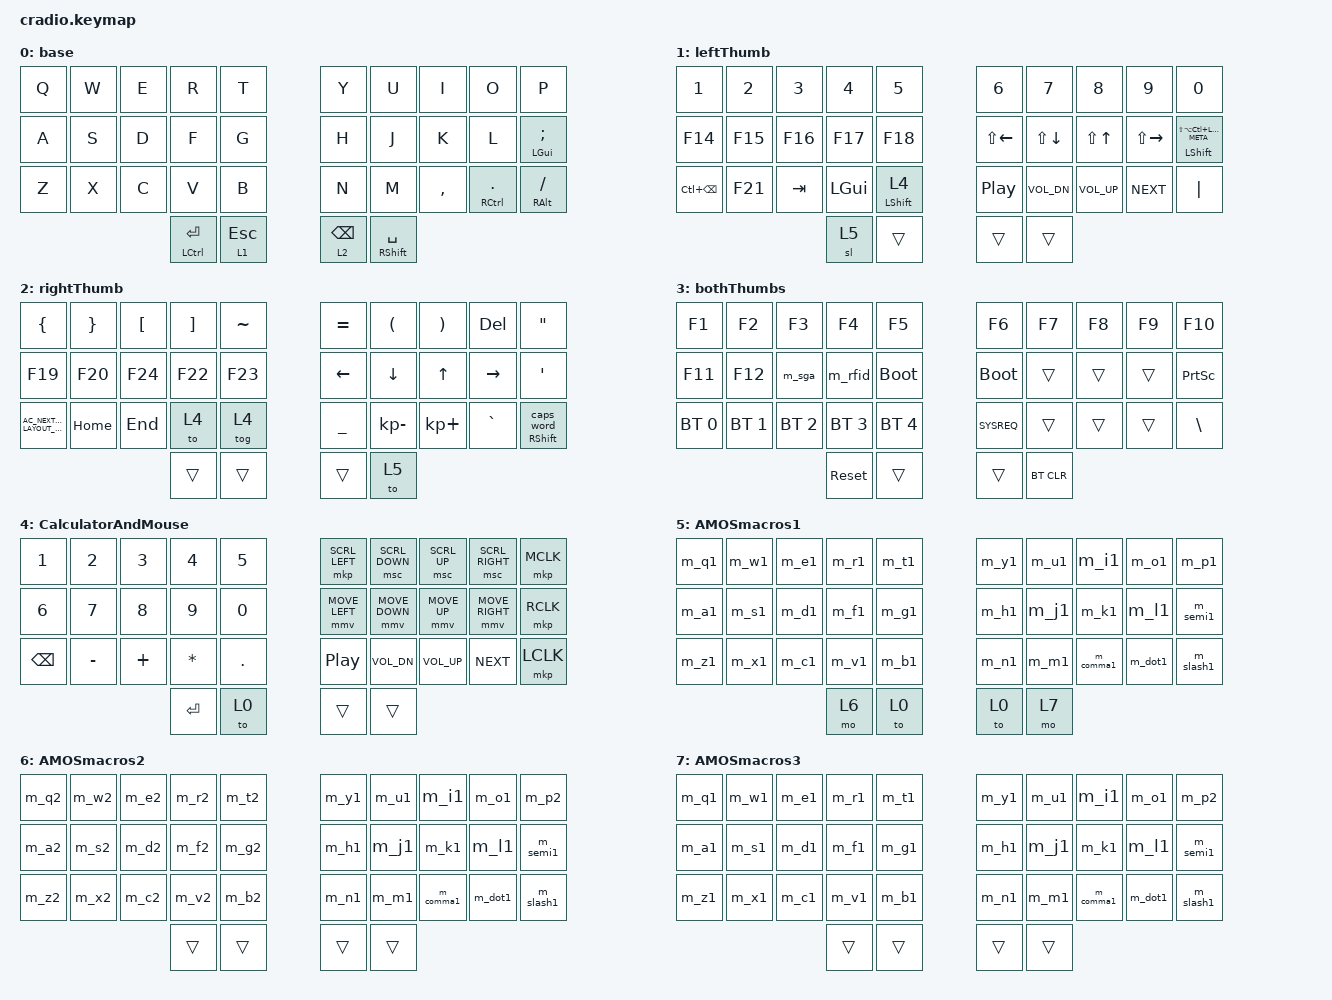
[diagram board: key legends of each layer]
#include <behaviors.dtsi>
#include <dt-bindings/zmk/bt.h>
#include <dt-bindings/zmk/keys.h>
#include <dt-bindings/zmk/pointing.h>

/ {
    behaviors {
        mt_sk: mod_tap_sticky_key {
            compatible = "zmk,behavior-hold-tap";
            #binding-cells = <2>;
            flavor = "tap-preferred";      // or "balanced" / "hold-preferred"
            tapping-term-ms = <200>;
            quick-tap-ms = <150>;
            bindings = <&kp>, <&sk>;
        };
    mt_cw: mod_tap_caps_word {
        compatible = "zmk,behavior-hold-tap";
        #binding-cells = <2>;
        flavor = "tap-preferred";
        tapping-term-ms = <200>;
        quick-tap-ms = <150>;
        bindings = <&kp>, <&caps_word>;
        };
mt_to: mod_tap_switch_layer {
    compatible = "zmk,behavior-hold-tap";
    #binding-cells = <2>;
    flavor = "tap-preferred";
    tapping-term-ms = <200>;
    quick-tap-ms = <150>;
    bindings = <&kp>, <&to>;
};

    };


    macros {
        m_sga: m_sga {
            compatible = "zmk,behavior-macro";
            #binding-cells = <0>;
            wait-ms = <30>;
            tap-ms = <30>;
            bindings = <&macro_tap
                &kp TILDE &kp LS(S) &kp LS(G) &kp DOT &kp LS(A) &kp RET>;
        };

        m_rfid: m_rfid {
            compatible = "zmk,behavior-macro";
            #binding-cells = <0>;
            wait-ms = <30>;
            tap-ms = <30>;
            bindings = <&macro_tap
                &kp TILDE
                &kp LS(R) &kp LS(F) &kp LS(I) &kp LS(D)
                &kp DOT
                &kp LS(A) &kp LS(B) &kp LS(C)
                &kp N1 &kp N2 &kp N3
                &kp LS(A) &kp LS(B) &kp LS(C)
                &kp RET>;
        };

        m_q1: m_q1 {
            compatible = "zmk,behavior-macro";
            display-name = "User Menu";
            #binding-cells = <0>;
            wait-ms = <5>;
            tap-ms = <5>;
            bindings = <&macro_tap
                &kp TILDE &kp LS(A) &kp LS(P) &kp LS(N) &kp DOT 
                &kp N0 &kp RET>;
        };

        m_q2: m_q2 {
            compatible = "zmk,behavior-macro";
            display-name = "PQS";
            #binding-cells = <0>;
            wait-ms = <5>;
            tap-ms = <5>;
            bindings = <&macro_tap
                &kp TILDE &kp LS(A) &kp LS(P) &kp LS(N) &kp DOT 
                &kp N1 &kp N4 &kp N8 &kp RET>;
        };

        m_w1: m_w1 {
            compatible = "zmk,behavior-macro";
            #binding-cells = <0>;
            wait-ms = <5>;
            tap-ms = <5>;
            bindings = <&macro_tap
                &kp TILDE &kp LS(A) &kp LS(P) &kp LS(N) &kp DOT 
                &kp N1 &kp N4 &kp N1 &kp N8 &kp RET>;
        };

        m_w2: m_w2 {
            compatible = "zmk,behavior-macro";
            display-name = "PQS";
            #binding-cells = <0>;
            wait-ms = <5>;
            tap-ms = <5>;
            bindings = <&macro_tap
                &kp TILDE &kp LS(A) &kp LS(P) &kp LS(N) &kp DOT 
                &kp N3 &kp N0 &kp RET>;
        };

        m_e1: m_e1 {
            compatible = "zmk,behavior-macro";
            #binding-cells = <0>;
            wait-ms = <5>;
            tap-ms = <5>;
            bindings = <&macro_tap
                &kp TILDE &kp LS(A) &kp LS(P) &kp LS(N) &kp DOT 
                &kp N5 &kp N8 &kp RET>;
        };

        m_e2: m_e2 {
            compatible = "zmk,behavior-macro";
            #binding-cells = <0>;
            wait-ms = <5>;
            tap-ms = <5>;
            bindings = <&macro_tap
                &kp TILDE &kp LS(A) &kp LS(P) &kp LS(N) &kp DOT 
                &kp N4 &kp N3 &kp N2 &kp RET>;
        };

        m_r1: m_r1 {
            compatible = "zmk,behavior-macro";
            #binding-cells = <0>;
            wait-ms = <5>;
            tap-ms = <5>;
            bindings = <&macro_tap
                &kp TILDE &kp LS(A) &kp LS(P) &kp LS(N) &kp DOT 
                &kp N1 &kp N4 &kp N7 &kp RET>;
        };

        m_r2: m_r2 {
            compatible = "zmk,behavior-macro";
            #binding-cells = <0>;
            wait-ms = <5>;
            tap-ms = <5>;
            bindings = <&macro_tap
                &kp TILDE &kp LS(A) &kp LS(P) &kp LS(N) &kp DOT 
                &kp N2 &kp N7 &kp N7 &kp N3 &kp RET>;
        };

        m_t1: m_t1 {
            compatible = "zmk,behavior-macro";
            #binding-cells = <0>;
            wait-ms = <5>;
            tap-ms = <5>;
            bindings = <&macro_tap
                &kp TILDE &kp LS(A) &kp LS(P) &kp LS(N) &kp DOT 
                &kp N1 &kp N2 &kp N2 &kp N5 &kp RET>;
        };

        m_t2: m_t2 {
            compatible = "zmk,behavior-macro";
            #binding-cells = <0>;
            wait-ms = <5>;
            tap-ms = <5>;
            bindings = <&macro_tap
                &kp TILDE &kp LS(A) &kp LS(P) &kp LS(N) &kp DOT 
                &kp N2 &kp N1 &kp N1 &kp N0 &kp RET>;
        };

        m_a1: m_a1 {
            compatible = "zmk,behavior-macro";
            #binding-cells = <0>;
            wait-ms = <5>;
            tap-ms = <5>;
            bindings = <&macro_tap
                &kp TILDE &kp LS(A) &kp LS(P) &kp LS(N) &kp DOT 
                &kp N3 &kp N0 &kp N8 &kp RET>;
        };

        m_a2: m_a2 {
            compatible = "zmk,behavior-macro";
            #binding-cells = <0>;
            wait-ms = <5>;
            tap-ms = <5>;
            bindings = <&macro_tap
                &kp TILDE &kp LS(A) &kp LS(P) &kp LS(N) &kp DOT 
                &kp N2 &kp N2 &kp N0 &kp N7 &kp RET>;
        };


        m_s1: m_s1 {
            compatible = "zmk,behavior-macro";
            #binding-cells = <0>;
            wait-ms = <5>;
            tap-ms = <5>;
            bindings = <&macro_tap
                &kp TILDE &kp LS(A) &kp LS(P) &kp LS(N) &kp DOT 
                 &kp N5 &kp N9 &kp RET>;
        };

        m_s2: m_s2 {
            compatible = "zmk,behavior-macro";
            #binding-cells = <0>;
            wait-ms = <5>;
            tap-ms = <5>;
            bindings = <&macro_tap
                &kp TILDE &kp LS(A) &kp LS(P) &kp LS(N) &kp DOT 
                 &kp N2 &kp N2 &kp N1 &kp RET>;
        };

        m_d1: m_d1 {
            compatible = "zmk,behavior-macro";
            #binding-cells = <0>;
            wait-ms = <5>;
            tap-ms = <5>;
            bindings = <&macro_tap
                &kp TILDE &kp LS(A) &kp LS(P) &kp LS(N) &kp DOT 
                &kp N2 &kp N6 &kp N1 &kp RET>;
        };

        m_d2: m_d2 {
            compatible = "zmk,behavior-macro";
            #binding-cells = <0>;
            wait-ms = <5>;
            tap-ms = <5>;
            bindings = <&macro_tap
                &kp TILDE &kp LS(A) &kp LS(P) &kp LS(N) &kp DOT 
                &kp N6 &kp N3 &kp RET>;
        };

        m_f1: m_f1 {
            compatible = "zmk,behavior-macro";
            #binding-cells = <0>;
            wait-ms = <5>;
            tap-ms = <5>;
            bindings = <&macro_tap
                &kp TILDE &kp LS(A) &kp LS(P) &kp LS(N) &kp DOT 
                &kp N1 &kp N8 &kp N4 &kp N4  &kp RET>;
        };

        m_f2: m_f2 {
            compatible = "zmk,behavior-macro";
            #binding-cells = <0>;
            wait-ms = <5>;
            tap-ms = <5>;
            bindings = <&macro_tap
                &kp TILDE &kp LS(A) &kp LS(P) &kp LS(N) &kp DOT 
                &kp N1 &kp N4 &kp N4 &kp N4  &kp RET>;
        };

       m_g1: m_g1 {
            compatible = "zmk,behavior-macro";
            #binding-cells = <0>;
            wait-ms = <5>;
            tap-ms = <5>;
            bindings = <&macro_tap
                &kp TILDE &kp LS(A) &kp LS(P) &kp LS(N) &kp DOT 
                &kp N2 &kp N6 &kp N2 &kp N9  &kp RET>;
        };

       m_g2: m_g2 {
            compatible = "zmk,behavior-macro";
            #binding-cells = <0>;
            wait-ms = <5>;
            tap-ms = <5>;
            bindings = <&macro_tap
                &kp TILDE &kp LS(A) &kp LS(P) &kp LS(N) &kp DOT 
                &kp N9 &kp N0 &kp N2  &kp RET>;
        };

        m_z1: m_z1 {
            compatible = "zmk,behavior-macro";
            #binding-cells = <0>;
            wait-ms = <5>;
            tap-ms = <5>;
            bindings = <&macro_tap
                &kp TILDE &kp LS(A) &kp LS(P) &kp LS(N) &kp DOT 
                &kp N2 &kp N4 &kp N9 &kp RET>;
        };

        m_z2: m_z2 {
            compatible = "zmk,behavior-macro";
            #binding-cells = <0>;
            wait-ms = <5>;
            tap-ms = <5>;
            bindings = <&macro_tap
                &kp TILDE &kp LS(A) &kp LS(P) &kp LS(N) &kp DOT 
                &kp N1 &kp N9 &kp N3 &kp N4 &kp RET>;
        };

        m_x1: m_x1 {
            compatible = "zmk,behavior-macro";
            #binding-cells = <0>;
            wait-ms = <5>;
            tap-ms = <5>;
            bindings = <&macro_tap
                &kp TILDE &kp LS(A) &kp LS(P) &kp LS(N) &kp DOT 
                &kp N3 &kp N6 &kp N5 &kp N8 &kp RET>;
        };

        m_x2: m_x2 {
            compatible = "zmk,behavior-macro";
            #binding-cells = <0>;
            wait-ms = <5>;
            tap-ms = <5>;
            bindings = <&macro_tap
                &kp TILDE &kp LS(A) &kp LS(P) &kp LS(N) &kp DOT 
                &kp N1 &kp N4 &kp N4 &kp N2 &kp RET>;
        };

        m_c1: m_c1 {
            compatible = "zmk,behavior-macro";
            #binding-cells = <0>;
            wait-ms = <5>;
            tap-ms = <5>;
            bindings = <&macro_tap
                &kp TILDE &kp LS(A) &kp LS(P) &kp LS(N) &kp DOT 
                &kp N2 &kp N8 &kp N1 &kp N8 &kp RET>;
        };

        m_c2: m_c2 {
            compatible = "zmk,behavior-macro";
            #binding-cells = <0>;
            wait-ms = <5>;
            tap-ms = <5>;
            bindings = <&macro_tap
                &kp TILDE &kp LS(A) &kp LS(P) &kp LS(N) &kp DOT 
                &kp N1 &kp N0 &kp RET>;
        };

        m_v1: m_v1 {
            compatible = "zmk,behavior-macro";
            #binding-cells = <0>;
            wait-ms = <5>;
            tap-ms = <5>;
            bindings = <&macro_tap
                &kp TILDE &kp LS(A) &kp LS(P) &kp LS(N) &kp DOT 
                &kp N1 &kp N3 &kp N5 &kp N4 &kp RET>;
        };

       m_v2: m_v2 {
            compatible = "zmk,behavior-macro";
            #binding-cells = <0>;
            wait-ms = <5>;
            tap-ms = <5>;
            bindings = <&macro_tap
                &kp TILDE &kp LS(A) &kp LS(P) &kp LS(N) &kp DOT 
                &kp N1 &kp N4 &kp N0 &kp N4 &kp RET>;
        };

        m_b1: m_b1 {
            compatible = "zmk,behavior-macro";
            #binding-cells = <0>;
            wait-ms = <5>;
            tap-ms = <5>;
            bindings = <&macro_tap
                &kp TILDE &kp LS(A) &kp LS(P) &kp LS(N) &kp DOT 
                &kp N3 &kp N2 &kp N9 &kp N6 &kp RET>;
        };

        m_b2: m_b2 {
            compatible = "zmk,behavior-macro";
            #binding-cells = <0>;
            wait-ms = <5>;
            tap-ms = <5>;
            bindings = <&macro_tap
                &kp TILDE &kp LS(A) &kp LS(P) &kp LS(N) &kp DOT 
                &kp N1 &kp N8 &kp RET>;
        };


        m_y1: m_y1 {
            compatible = "zmk,behavior-macro";
            #binding-cells = <0>;
            wait-ms = <5>;
            tap-ms = <5>;
            bindings = <&macro_tap
                &kp TILDE &kp LS(R) &kp LS(F) &kp LS(I) &kp LS(D) &kp DOT
                &kp N1 &kp LS(Y) &kp RET>;
        };

        m_u1: m_u1  {
            compatible = "zmk,behavior-macro";
            #binding-cells = <0>;
            wait-ms = <5>;
            tap-ms = <5>;
            bindings = <&macro_tap
                &kp TILDE &kp LS(R) &kp LS(F) &kp LS(I) &kp LS(D) &kp DOT
                &kp N1 &kp LS(U) &kp RET>;
        };
        m_i1: m_i1 {
            compatible = "zmk,behavior-macro";
            #binding-cells = <0>;
            wait-ms = <5>;
            tap-ms = <5>;
            bindings = <&macro_tap
                &kp TILDE &kp LS(R) &kp LS(F) &kp LS(I) &kp LS(D) &kp DOT
                &kp N1 &kp LS(I) &kp RET>;
        };

        m_o1: m_o1 {
            compatible = "zmk,behavior-macro";
            #binding-cells = <0>;
            wait-ms = <5>;
            tap-ms = <5>;
            bindings = <&macro_tap
                &kp TILDE &kp LS(R) &kp LS(F) &kp LS(I) &kp LS(D) &kp DOT
                &kp N1 &kp LS(O) &kp RET>;
        };
        m_p1: m_p1 {
            compatible = "zmk,behavior-macro";
            #binding-cells = <0>;
            wait-ms = <5>;
            tap-ms = <5>;
            bindings = <&macro_tap
                &kp TILDE &kp LS(R) &kp LS(F) &kp LS(I) &kp LS(D) &kp DOT
                &kp N1 &kp LS(P) &kp RET>;
        };

        m_p2: m_p2 {
            compatible = "zmk,behavior-macro";
            #binding-cells = <0>;
            wait-ms = <5>;
            tap-ms = <5>;
            bindings = <&macro_tap
                &kp TILDE &kp LS(R) &kp LS(F) &kp LS(I) &kp LS(D) &kp DOT
                &kp N2 &kp LS(P) &kp RET>;
        };

        m_h1: m_h1 {
            compatible = "zmk,behavior-macro";
            #binding-cells = <0>;
            wait-ms = <5>;
            tap-ms = <5>;
            bindings = <&macro_tap
                &kp TILDE &kp LS(R) &kp LS(F) &kp LS(I) &kp LS(D) &kp DOT
                &kp N1 &kp LS(H) &kp RET>;
        };

        m_j1: m_j1 {
            compatible = "zmk,behavior-macro";
            #binding-cells = <0>;
            wait-ms = <5>;
            tap-ms = <5>;
            bindings = <&macro_tap
                &kp TILDE &kp LS(R) &kp LS(F) &kp LS(I) &kp LS(D) &kp DOT
                &kp N1 &kp LS(J) &kp RET>;
        };
        m_k1: m_k1 {
            compatible = "zmk,behavior-macro";
            #binding-cells = <0>;
            wait-ms = <5>;
            tap-ms = <5>;
            bindings = <&macro_tap
                &kp TILDE &kp LS(R) &kp LS(F) &kp LS(I) &kp LS(D) &kp DOT
                &kp N1 &kp LS(K) &kp RET>;
        };

        m_l1: m_l1 {
            compatible = "zmk,behavior-macro";
            #binding-cells = <0>;
            wait-ms = <5>;
            tap-ms = <5>;
            bindings = <&macro_tap
                &kp TILDE &kp LS(R) &kp LS(F) &kp LS(I) &kp LS(D) &kp DOT
                &kp N1 &kp LS(L) &kp RET>;
        };
        m_semi1: m_semi1 {
            compatible = "zmk,behavior-macro";
            #binding-cells = <0>;
            wait-ms = <5>;
            tap-ms = <5>;
            bindings = <&macro_tap
                &kp TILDE &kp LS(R) &kp LS(F) &kp LS(I) &kp LS(D) &kp DOT
                &kp N1 &kp LS(L) &kp LS(L) &kp RET>;
        };
        m_n1: m_n1 {
            compatible = "zmk,behavior-macro";
            #binding-cells = <0>;
            wait-ms = <5>;
            tap-ms = <5>;
            bindings = <&macro_tap
                &kp TILDE &kp LS(R) &kp LS(F) &kp LS(I) &kp LS(D) &kp DOT
                &kp N1 &kp LS(N) &kp RET>;
        };

        m_m1: m_m1 {
            compatible = "zmk,behavior-macro";
            #binding-cells = <0>;
            wait-ms = <5>;
            tap-ms = <5>;
            bindings = <&macro_tap
                &kp TILDE &kp LS(R) &kp LS(F) &kp LS(I) &kp LS(D) &kp DOT
                &kp N1 &kp LS(M) &kp RET>;
        };
        m_comma1: m_comma1 {
            compatible = "zmk,behavior-macro";
            #binding-cells = <0>;
            wait-ms = <5>;
            tap-ms = <5>;
            bindings = <&macro_tap
                &kp TILDE &kp LS(R) &kp LS(F) &kp LS(I) &kp LS(D) &kp DOT
                &kp N1 &kp LS(M) &kp LS(M) &kp RET>;
        };

        m_dot1: m_dot1 {
            compatible = "zmk,behavior-macro";
            #binding-cells = <0>;
            wait-ms = <5>;
            tap-ms = <5>;
            bindings = <&macro_tap
                &kp TILDE &kp LS(R) &kp LS(F) &kp LS(I) &kp LS(D) &kp DOT
                &kp N1 &kp LS(M) &kp LS(M) &kp LS(M) &kp RET>;
        };
        m_slash1: m_slash1 {
            compatible = "zmk,behavior-macro";
            #binding-cells = <0>;
            wait-ms = <5>;
            tap-ms = <5>;
            bindings = <&macro_tap
                &kp TILDE &kp LS(R) &kp LS(F) &kp LS(I) &kp LS(D) &kp DOT
                &kp N1 &kp LS(M) &kp LS(M) &kp LS(M) &kp LS(M) &kp RET>;
        };
    };


    keymap {
        compatible = "zmk,keymap";

        base {
            bindings = <
&kp Q  &kp W  &kp E  &kp R                   &kp T           &kp Y            &kp U                  &kp I      &kp O                  &kp P
&kp A  &kp S  &kp D  &kp F                   &kp G           &kp H            &kp J                  &kp K      &kp L                  &mt LEFT_GUI SEMI
&kp Z  &kp X  &kp C  &kp V                   &kp B           &kp N            &kp M                  &kp COMMA  &mt RIGHT_CONTROL DOT  &mt RIGHT_ALT SLASH
                     &mt LEFT_CONTROL ENTER  &lt 1 ESCAPE    &lt 2 BACKSPACE  &mt RIGHT_SHIFT SPACE
            >;
        };

        leftThumb {
            bindings = <
&kp N1         &kp N2   &kp N3   &kp N4            &kp N5                       &kp N6        &kp N7           &kp N8      &kp N9         &kp N0
&kp F14        &kp F15  &kp F16  &kp F17           &kp F18                      &kp LS(LEFT)  &kp LS(DOWN)     &kp LS(UP)  &kp LS(RIGHT)  &mt_sk LEFT_SHIFT LS(LA(LC(LEFT_META)))
&kp LC(BACKSPACE)  &kp F21  &kp TAB  &kp LEFT_GUI  &mt_to LSHFT 4                        &kp C_PLAY_PAUSE  &kp C_VOL_DN  &kp C_VOL_UP     &kp C_NEXT         &kp PIPE
                                                 &sl 5   &trans                 &trans      &trans
            >;
        };

        rightThumb {
            bindings = <
&kp LBRC                              &kp RBRC  &kp LBKT  &kp RBKT       &kp TILDE    &kp EQUAL       &kp LEFT_PARENTHESIS  &kp RIGHT_PARENTHESIS  &kp DEL    &kp DOUBLE_QUOTES
&kp F19                               &kp F20   &kp F24   &kp F22        &kp F23      &kp LEFT        &kp DOWN              &kp UP                 &kp RIGHT  &kp SQT
&kp C_AC_NEXT_KEYBOARD_LAYOUT_SELECT  &kp HOME  &kp END   &to 4          &tog 4       &kp UNDERSCORE    &kp KP_MINUS           &kp KP_PLUS         &kp GRAVE  &mt_cw RIGHT_SHIFT 0
                                                          &trans     &trans       &trans   &to 5       
            >;
        };

        bothThumbs {
            bindings = <
&kp F1        &kp F2        &kp F3        &kp F4        &kp F5          &kp F6       &kp F7      &kp F8  &kp F9  &kp F10
&kp F11       &kp F12       &m_sga        &m_rfid       &bootloader     &bootloader  &trans      &trans  &trans  &kp PRINTSCREEN
&bt BT_SEL 0  &bt BT_SEL 1  &bt BT_SEL 2  &bt BT_SEL 3  &bt BT_SEL 4    &kp SYSREQ       &trans      &trans  &trans  &kp BSLH
                                          &sys_reset    &trans          &trans       &bt BT_CLR
            >;
        };

        CalculatorAndMouse {
            bindings = <
&kp N1    &kp N2    &kp N3    &kp N4            &kp N5                       &mkp SCRL_LEFT  &msc SCRL_DOWN &msc SCRL_UP   &msc SCRL_RIGHT       &mkp MCLK
&kp N6    &kp N7           &kp N8      &kp N9         &kp N0                 &mmv MOVE_LEFT         &mmv MOVE_DOWN      &mmv MOVE_UP  &mmv MOVE_RIGHT      &mkp RCLK
&kp BACKSPACE  &kp MINUS  &kp PLUS  &kp ASTERISK  &kp DOT                      &kp C_PLAY_PAUSE  &kp C_VOL_DN  &kp C_VOL_UP     &kp C_NEXT         &mkp LCLK
                     &kp ENTER  &to 0    &trans  &trans
            >;
        };



        AMOSmacros1 {
            bindings = <
&m_q1    &m_w1     &m_e1     &m_r1         &m_t1                 &m_y1      &m_u1        &m_i1     &m_o1      &m_p1 
&m_a1    &m_s1    &m_d1      &m_f1         &m_g1                 &m_h1      &m_j1        &m_k1     &m_l1      &m_semi1
&m_z1  &m_x1 &m_c1  &m_v1  &m_b1                                 &m_n1  &m_m1  &m_comma1     &m_dot1     &m_slash1
                     &mo 6  &to 0    &to 0  &mo 7
            >;
        };
        AMOSmacros2 {
            bindings = <
&m_q2    &m_w2     &m_e2     &m_r2         &m_t2                 &m_y1      &m_u1        &m_i1     &m_o1      &m_p2 
&m_a2    &m_s2    &m_d2      &m_f2         &m_g2                 &m_h1      &m_j1        &m_k1     &m_l1      &m_semi1
&m_z2    &m_x2 &m_c2  &m_v2  &m_b2                               &m_n1  &m_m1  &m_comma1     &m_dot1     &m_slash1
                     &trans  &trans    &trans  &trans
            >;
        };
        AMOSmacros3 {
            bindings = <
&m_q1    &m_w1     &m_e1     &m_r1         &m_t1                 &m_y1      &m_u1        &m_i1     &m_o1      &m_p2 
&m_a1    &m_s1    &m_d1      &m_f1         &m_g1                 &m_h1      &m_j1        &m_k1     &m_l1      &m_semi1
&m_z1  &m_x1 &m_c1  &m_v1  &m_b1                                 &m_n1  &m_m1  &m_comma1     &m_dot1     &m_slash1
                     &trans  &trans    &trans  &trans
            >;
        };
    };




    conditional_layers {
        compatible = "zmk,conditional-layers";

        both {
            if-layers = <1 2>;
            then-layer = <3>;
        };
    };
};
